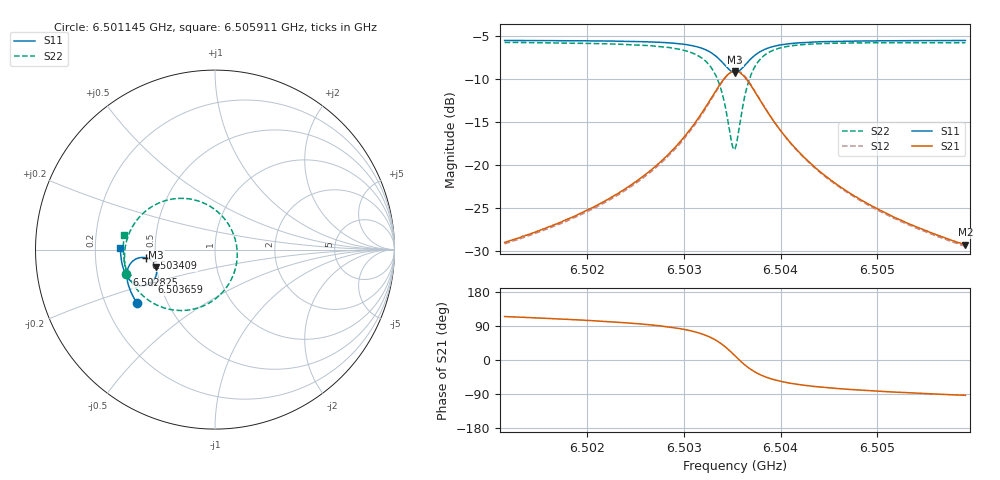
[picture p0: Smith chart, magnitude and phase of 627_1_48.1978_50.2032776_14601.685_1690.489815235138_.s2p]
#  HZ  S  RI  R  50.00
! Rohde & Schwarz Vector Network Analyzer
! Rohde-Schwarz,ZNB20-2Port,1311601062101988,3.16
! Created: UTC 3/20/2024, 12:04:09 PM
! freq[Hz]  re:S11  im:S11  re:S21  im:S21  re:S12  im:S12  re:S22  im:S22
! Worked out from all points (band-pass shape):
!   401 points, 6.501145 GHz to 6.505911 GHz, reference 50 ohm
!   highest |S21| = -9.12 dB at 6.503528 GHz (marker M1); lowest = -29.3 dB at 6.505911 GHz (marker M2)
!   |S21| within 3 dB of the highest: 6.503291 GHz to 6.503767 GHz (476 kHz wide, 0.00732 % of centre)
!   lowest |S11| = -9.3 dB at 6.503528 GHz (marker M3), VSWR 2.04, Z = 24.9 - j5.62 ohm
!   |S11| at or under -10 dB: nowhere
!   |S22| runs from -18.2 to -5.8 dB; largest |S21 - S12| = 0.012
!   S11 on the Smith chart (normalised r, x): 6.501145 GHz: 0.34, -0.28; 6.502825 GHz: 0.33, -0.13; 6.503409 GHz: 0.44, -0.05; 6.503659 GHz: 0.45, -0.19; 6.505911 GHz: 0.31, +0.01
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6.5011454e9  -0.4354 -0.2966  -0.0148 0.0321  -0.013 0.0322  -0.4946 -0.138
6.5019436e9  -0.4685 -0.2359  -0.0138 0.0507  -0.0114 0.0504  -0.5046 -0.0501
6.5023726e9  -0.4828 -0.1967  -0.0107 0.0704  -0.00757 0.0692  -0.5 0.0136
6.5027419e9  -0.4907 -0.1542  -0.000786 0.102  0.00305 0.0995  -0.4778 0.0919
6.5028253e9  -0.4911 -0.1424  0.0043 0.1126  0.00821 0.1098  -0.4669 0.1151
6.5030279e9  -0.4861 -0.1083  0.0277 0.1483  0.0315 0.1436  -0.4183 0.1845
6.5031709e9  -0.4712 -0.0783  0.0661 0.1826  0.0691 0.1766  -0.3435 0.2443
6.5033138e9  -0.4319 -0.0486  0.1504 0.212  0.1513 0.2055  -0.1899 0.2856
6.5033615e9  -0.4099 -0.0438  0.1944 0.2103  0.1946 0.2046  -0.1131 0.2764
6.5034091e9  -0.3838 -0.0461  0.2445 0.1945  0.245 0.1898  -0.0268 0.2408
6.5034926e9  -0.3396 -0.0767  0.3251 0.1175  0.3279 0.1131  0.1019 0.0888
6.5035283e9  -0.3283 -0.0997  0.3433 0.067  0.3474 0.0614  0.1233 -0.00599
6.5035521e9  -0.3253 -0.1165  0.3467 0.0313  0.3513 0.0243  0.1208 -0.0717
6.5035879e9  -0.3276 -0.1415  0.3389 -0.0205  0.3431 -0.0299  0.0923 -0.1637
6.5036594e9  -0.3507 -0.18  0.2905 -0.0992  0.2908 -0.1114  -0.0219 -0.291
6.5037547e9  -0.393 -0.2004  0.2096 -0.1436  0.2046 -0.1545  -0.187 -0.3395
6.5039096e9  -0.4435 -0.1931  0.1186 -0.1426  0.1112 -0.1486  -0.352 -0.2938
6.5040764e9  -0.4733 -0.1718  0.0692 -0.1209  0.0625 -0.1237  -0.4323 -0.2247
6.5043266e9  -0.4961 -0.1404  0.0355 -0.0933  0.0304 -0.0938  -0.4811 -0.1454
6.5046602e9  -0.511 -0.1042  0.0167 -0.0697  0.0129 -0.0695  -0.5036 -0.0732
6.5051249e9  -0.5213 -0.06  0.00543 -0.0509  0.00308 -0.0502  -0.511 -0.00306
6.5059112e9  -0.5265 0.00737  -0.00195 -0.0342  -0.00336 -0.0334  -0.5044 0.0833
